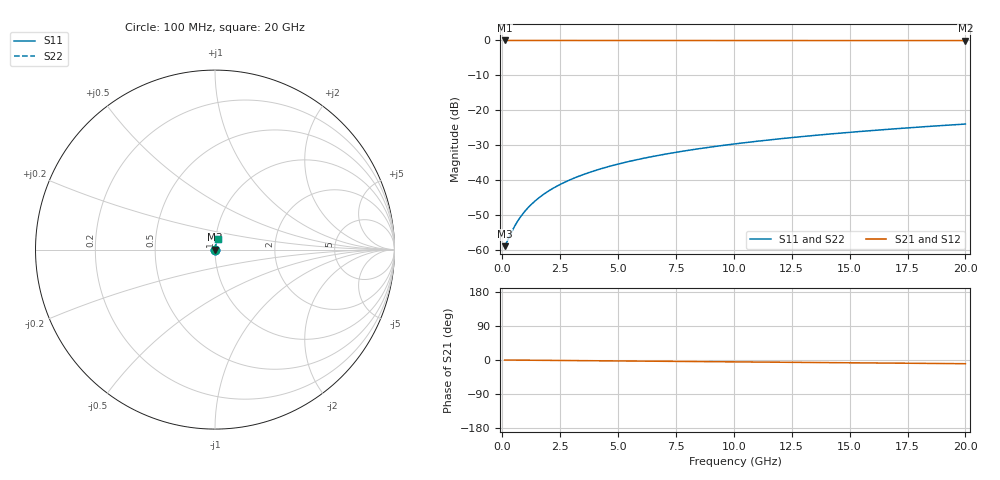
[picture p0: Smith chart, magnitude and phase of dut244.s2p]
! Touchstone file exported from HFSS 2026.1.0
!  File:  C:/ffzhzh/LocalFiles/Ansys_Project_Files/temp_train_TSV_244_1782992669_40604.aedt
!  Generated:  07:46:33 PM Jul  2, 2026
!  Design:  TSV
!  Project:  temp_train_TSV_244_1782992669_40604
! Variables:
!  h_bsmrdl = 2um
!  h_ox = 20um
!  h_rdl = 5um
!  h_sub = 96.93um
!  h_tmrdl = 5um
!  h_tsv = 96.93um
!  h_via = 3um
!  l_bsmrdl = 300um
!  l_sub = 406.5um
!  l_tmrdl = 200um
!  m_sub = 200um
!  pitch = 24.13um
!  r_tsv = 3.25um
!  s_tmrdl = 10um
!  w_bsmrdl = 18um
!  w_sub = 500um
!  w_tmrdl = 12um
!  x_tsv_center1 = 206um
!  x_tsv_center2 = 524um
!  x_tsv_center3 = 736um
!  x_tsv_center4 = 1054um
!  x_tsv_center5 = 1266um
!  x_tsv_center6 = 1584um
# GHz S MA R 50.000000
! Terminal data exported
! Port[1] = TSV1_1_T1
! Port[2] = TSV1_1_T2
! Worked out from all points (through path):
!   200 points, 100 MHz to 20 GHz, reference 50 ohm
!   highest |S21| = -0.01 dB at 100 MHz (marker M1); lowest = -0.1 dB at 20 GHz (marker M2)
!   group delay of S21, straight-line fit = 1.35 ps
!   lowest |S11| = -59.0 dB at 100 MHz (marker M3), VSWR 1.00, Z = 50.1 + j0.0361 ohm
!   |S11| at or under -10 dB: start of sweep to end of sweep
!   |S22| runs from -59.0 to -24.0 dB; largest |S21 - S12| = 3.1e-15
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0.1  0.001128 18.6  0.9989 -0.1  0.9989 -0.1  0.001128 18.6
! Gamma 0 0 0 0
! Port Impedance 50 0 50 0
0.2  0.001297 33.5  0.9989 -0.1  0.9989 -0.1  0.001297 33.5
0.4  0.001793 51.7  0.9989 -0.2  0.9989 -0.2  0.001793 51.7
0.5  0.00208 57.2  0.9989 -0.3  0.9989 -0.3  0.00208 57.2
0.7  0.002687 64.6  0.9989 -0.4  0.9989 -0.4  0.002687 64.6
0.8  0.003002 67.2  0.9988 -0.4  0.9988 -0.4  0.003002 67.2
1  0.003646 70.9  0.9988 -0.5  0.9988 -0.5  0.003646 70.9
1.3  0.004632 74.5  0.9988 -0.7  0.9988 -0.7  0.004632 74.5
1.7  0.005964 77.3  0.9988 -0.9  0.9988 -0.9  0.005964 77.3
2.2  0.00764 79.2  0.9987 -1.1  0.9987 -1.1  0.00764 79.2
2.8  0.009651 80.5  0.9986 -1.4  0.9986 -1.4  0.009651 80.5
3.5  0.01199 81.2  0.9984 -1.8  0.9984 -1.8  0.01199 81.2
4.2  0.0143 81.5  0.9983 -2.1  0.9983 -2.1  0.0143 81.5
5  0.01693 81.5  0.9981 -2.5  0.9981 -2.5  0.01693 81.5
5.9  0.01984 81.5  0.9979 -2.9  0.9979 -2.9  0.01984 81.5
6.8  0.02273 81.3  0.9976 -3.4  0.9976 -3.4  0.02273 81.3
8.3  0.02749 80.9  0.9972 -4.1  0.9972 -4.1  0.02749 80.9
10.1  0.03312 80.4  0.9968 -5.0  0.9968 -5.0  0.03312 80.4
11.7  0.03809 79.9  0.9964 -5.8  0.9964 -5.8  0.03809 79.9
13.4  0.04332 79.3  0.9959 -6.6  0.9959 -6.6  0.04332 79.3
16.7  0.05341 78.1  0.9951 -8.2  0.9951 -8.2  0.05341 78.1
20  0.06341 76.8  0.9942 -9.8  0.9942 -9.8  0.06341 76.8
